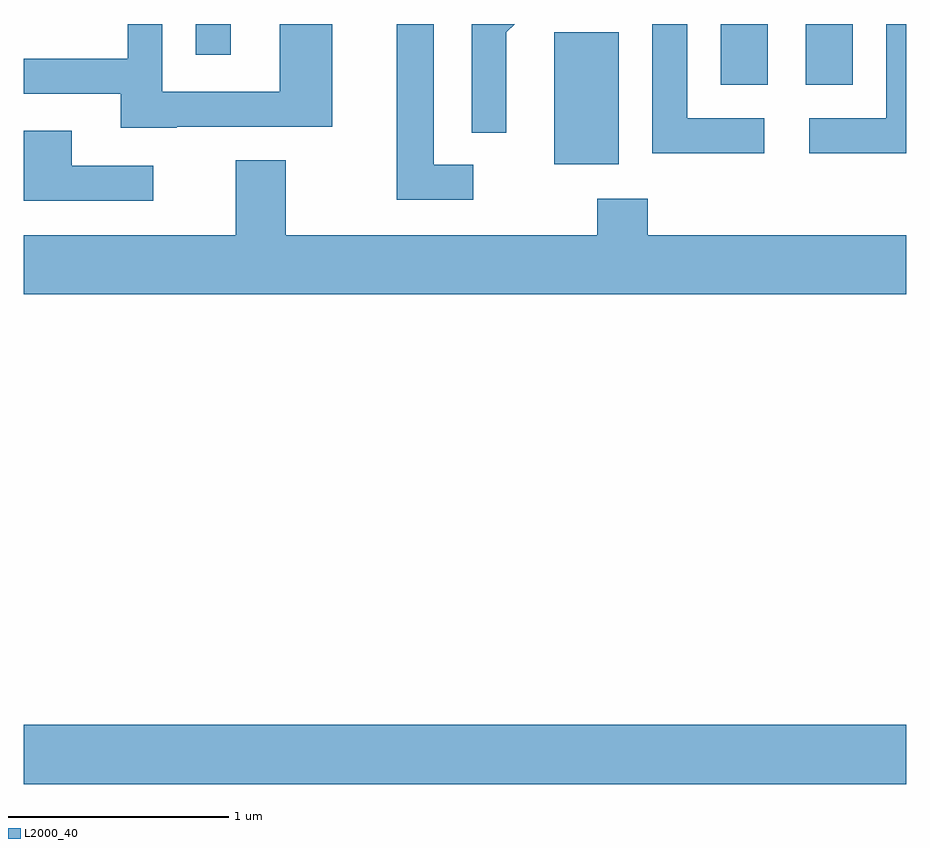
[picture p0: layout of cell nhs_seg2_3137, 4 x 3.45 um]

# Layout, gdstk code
import gdstk
lib = gdstk.Library(unit=1e-6, precision=1e-09)
def R(c, l, rs):  # rectangles x0, y0, x1, y1
    for r in rs: c.add(gdstk.rectangle(r[:2], r[2:], *l))
def P(c, l, *ps):  # polygons
    for p in ps: c.add(gdstk.Polygon(p, *l))
L2000_40 = (2000, 40)

nhs_seg2_3137 = lib.new_cell('nhs_seg2_3137')
R(nhs_seg2_3137, L2000_40, [(277.611,1008.356,281.611,1008.624), (280.016,1011.166,280.309,1011.764), (280.771,1011.526,280.984,1011.802), (281.156,1011.526,281.369,1011.802), (278.391,1011.663,278.549,1011.802)])
P(nhs_seg2_3137, L2000_40, [(279.799,1011.764),(279.837,1011.802),(279.641,1011.802),(279.641,1011.308),(279.799,1011.308)],
  [(280.968,1011.374),(280.619,1011.374),(280.619,1011.802),(280.461,1011.802),(280.461,1011.216),(280.968,1011.216)],
  [(278.305,1011.336),(279.009,1011.336),(279.009,1011.802),(278.771,1011.802),(278.771,1011.494),(278.239,1011.494),(278.239,1011.802),(278.081,1011.802),(278.081,1011.644),(277.611,1011.644),(277.611,1011.486),(278.051,1011.486),(278.051,1011.331),(278.305,1011.331)],
  [(281.611,1011.802),(281.521,1011.802),(281.521,1011.374),(281.173,1011.374),(281.173,1011.216),(281.611,1011.216)],
  [(279.648,1011.164),(279.469,1011.164),(279.469,1011.802),(279.301,1011.802),(279.301,1011.006),(279.648,1011.006)],
  [(278.198,1011.159),(277.829,1011.159),(277.829,1011.319),(277.611,1011.319),(277.611,1011.001),(278.198,1011.001)],
  [(281.611,1010.844),(280.439,1010.844),(280.439,1011.009),(280.211,1011.009),(280.211,1010.844),(278.799,1010.844),(278.799,1011.184),(278.571,1011.184),(278.571,1010.844),(277.611,1010.844),(277.611,1010.576),(281.611,1010.576)])

lib.write_gds('nhs_seg2_3137.gds')
